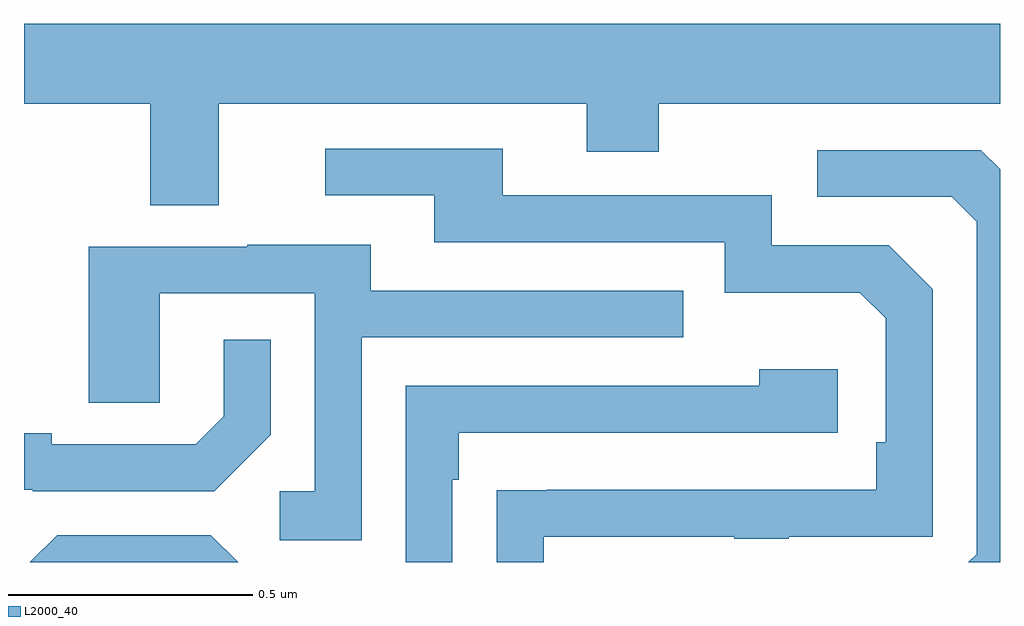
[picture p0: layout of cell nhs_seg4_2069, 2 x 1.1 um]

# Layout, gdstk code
import gdstk
lib = gdstk.Library(unit=1e-6, precision=1e-09)
def P(c, l, *ps):  # polygons
    for p in ps: c.add(gdstk.Polygon(p, *l))
L2000_40 = (2000, 40)

nhs_seg4_2069 = lib.new_cell('nhs_seg4_2069')
P(nhs_seg4_2069, L2000_40, [(136.399,776.84),(137.153,776.84),(137.153,776.741),(137.301,776.741),(137.301,776.84),(138,776.84),(138,777.004),(136,777.004),(136,776.84),(136.259,776.84),(136.259,776.632),(136.399,776.632)],
  [(137.065,775.953),(137.455,775.953),(137.455,775.948),(137.567,775.948),(137.567,775.953),(137.862,775.953),(137.862,776.46),(137.772,776.55),(137.532,776.55),(137.532,776.652),(136.981,776.652),(136.981,776.748),(136.617,776.748),(136.617,776.652),(136.841,776.652),(136.841,776.556),(137.436,776.556),(137.436,776.453),(137.713,776.453),(137.766,776.4),(137.766,776.146),(137.746,776.146),(137.746,776.049),(137.071,776.049),(137.071,776.048),(136.969,776.048),(136.969,775.9),(137.065,775.9)],
  [(138,776.706),(137.961,776.745),(137.625,776.745),(137.625,776.649),(137.901,776.649),(137.952,776.598),(137.952,775.917),(137.935,775.9),(138,775.9)],
  [(136.692,776.361),(137.351,776.361),(137.351,776.457),(136.711,776.457),(136.711,776.551),(136.457,776.551),(136.457,776.547),(136.133,776.547),(136.133,776.227),(136.278,776.227),(136.278,776.451),(136.596,776.451),(136.596,776.046),(136.524,776.046),(136.524,775.945),(136.692,775.945)],
  [(136.506,776.162),(136.506,776.356),(136.409,776.356),(136.409,776.199),(136.352,776.142),(136.057,776.142),(136.057,776.165),(136,776.165),(136,776.049),(136.018,776.049),(136.018,776.046),(136.39,776.046)],
  [(136.878,776.069),(136.891,776.069),(136.891,776.166),(137.668,776.166),(137.668,776.296),(137.507,776.296),(137.507,776.262),(136.782,776.262),(136.782,775.9),(136.878,775.9)],
  [(136.383,775.956),(136.068,775.956),(136.012,775.9),(136.439,775.9)])

lib.write_gds('nhs_seg4_2069.gds')
